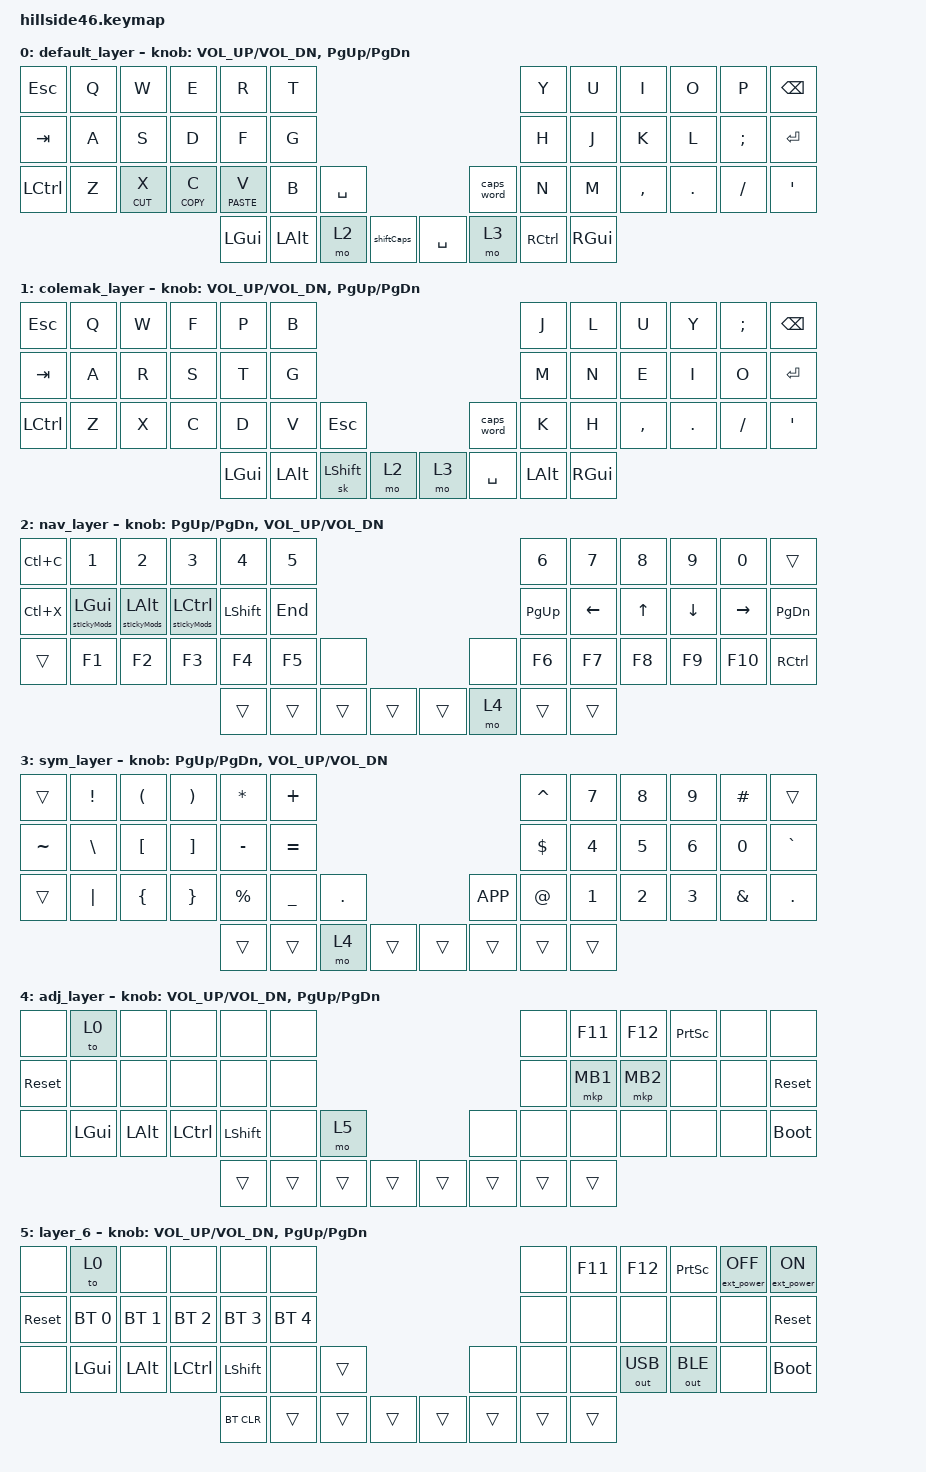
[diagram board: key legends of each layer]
/*
 * Copyright (c) 2021-2022 The ZMK Contributors
 *
 * SPDX-License-Identifier: MIT
 */

#include <dt-bindings/zmk/mouse.h>
#include <behaviors.dtsi>
#include <dt-bindings/zmk/bt.h>
#include <dt-bindings/zmk/ext_power.h>
#include <dt-bindings/zmk/keys.h>
#include <dt-bindings/zmk/outputs.h>
#include <dt-bindings/zmk/pointing.h>

#define QWERTY_L 0
#define DVORAK_L 1
#define COLEMK_L 2
#define NAV_L    3
#define SYM_L    4
#define ADJ_L    5
#define Undo   LC(Z)
#define Cut    LC(X)
#define Copy   LC(C)
#define Paste  LC(V)
#define Redo   LC(Y)

&sk { quick-release; };

&mt {
    tapping-term-ms = <400>;
    flavor = "tap-preferred";
};

/ {
    behaviors {
        shiftCaps: shiftCaps {
            compatible = "zmk,behavior-tap-dance";
            label = "SHIFTCAPS";
            #binding-cells = <0>;
            bindings = <&stickyMods LEFT_SHIFT>, <&kp CAPSLOCK>;
        };

        stickyMods: stickyMods {
            compatible = "zmk,behavior-sticky-key";
            label = "STICKYMODS";
            bindings = <&kp>;
            #binding-cells = <1>;
            lazy;
            ignore-modifiers;
            release-after-ms = <1500>;
            quick-release;
        };
    };

    keymap {
        compatible = "zmk,keymap";

        default_layer {
            /* QWERTY
 * -------------------------------------------------------------------------------------------------------------------------------------
 * | `     |   Q   |   W   |   E   |   R   |   T   |-----------------------------------|   Y   |   U   |   I   |   O   |   P   | BKSPC |
 * | TAB   |   A   |   S   |   D   |   F   |   G   |-----------------------------------|   H   |   J   |   K   |   L   |   ;   | ENTER |
 * | CTRL  |   Z   |   X   |   C   |   V   |   B   |  ESC  |-------------------|  CAPS |   N   |   M   |   ,   |   .   |   /   |   '   |
 *                                 |  GUI  |  ALT  |SK SHFT|  Nav  |---|  Sym  | SPACE |  ALT  |  GUI  |
 */

            bindings = <
&kp ESC    &kp Q  &kp W        &kp E         &kp R          &kp T                                                         &kp Y      &kp U     &kp I      &kp O    &kp P      &kp BSPC
&kp TAB    &kp A  &kp S        &kp D         &kp F          &kp G                                                         &kp H      &kp J     &kp K      &kp L    &kp SEMI   &kp ENTER
&kp LCTRL  &kp Z  &mt K_CUT X  &mt K_COPY C  &mt K_PASTE V  &kp B         &kp SPACE                           &caps_word  &kp N      &kp M     &kp COMMA  &kp DOT  &kp SLASH  &kp SQT
                                             &kp LGUI       &kp LEFT_ALT  &mo 2      &shiftCaps    &kp SPACE  &mo 3       &kp RCTRL  &kp RGUI
            >;

            sensor-bindings = <&inc_dec_kp C_VOL_UP C_VOL_DN &inc_dec_kp PG_UP PG_DN>;
        };

        colemak_layer {
            /* COLEMAK-DH
 * -------------------------------------------------------------------------------------------------------------------------------------
 * | `     |   Q   |   W   |   F   |   P   |   B   |-----------------------------------|   J   |   L   |   U   |   Y   |   ;   | BKSPC |
 * | TAB   |   A   |   R   |   S   |   T   |   G   |-----------------------------------|   M   |   N   |   E   |   I   |   O   | ENTER |
 * | CTRL  |   Z   |   X   |   C   |   D   |   V   |  ESC  |-------------------| CAPS  |   K   |   H   |   ,   |   .   |   /   |   '   |
 *                                 |  GUI  |  ALT  |SK SHFT|  Nav  |---|  Sym  | SPACE |  ALT  |  GUI  |
 */

            bindings = <
&kp ESCAPE  &kp Q  &kp W  &kp F  &kp P     &kp B                                             &kp J     &kp L     &kp U      &kp Y    &kp SEMI   &kp BSPC
&kp TAB     &kp A  &kp R  &kp S  &kp T     &kp G                                             &kp M     &kp N     &kp E      &kp I    &kp O      &kp ENTER
&kp LCTRL   &kp Z  &kp X  &kp C  &kp D     &kp V     &kp ESC                     &caps_word  &kp K     &kp H     &kp COMMA  &kp DOT  &kp SLASH  &kp SQT
                                 &kp LGUI  &kp LALT  &sk LSHIFT  &mo 2    &mo 3  &kp SPACE   &kp LALT  &kp RGUI
            >;

            sensor-bindings = <&inc_dec_kp C_VOL_UP C_VOL_DN &inc_dec_kp PG_UP PG_DN>;
        };

        nav_layer {
            /* NAV   
 * -------------------------------------------------------------------------------------------------------------------------------------
 * | Copy  |   1   |   2   |   3   |   4   |   5   |-----------------------------------|   6   |   7   |   8   |   9   |   0   | BSPC  |
 * | Cut   |  GUI  |  Alt  | Ctrl  | Shift | Paste |-----------------------------------| PG UP |  Left |  Up   |  Down | Right | PG DN |
 * | Ctrl  |  F1   |  F2   |  F3   |  F4   |  F5   |  UnDo |-------------------| ReDo  |  F6   |  F7   |  F8   |  F9   |  F10  | Ctrl  |
 *                                 |       |       |       |       |---| ADJ_L |       |       |       |
 */

            bindings = <
&kp Copy  &kp N1            &kp N2            &kp N3             &kp N4     &kp N5                                    &kp N6     &kp N7    &kp N8  &kp N9    &kp N0     &trans
&kp Cut   &stickyMods LGUI  &stickyMods LALT  &stickyMods LCTRL  &kp LSHFT  &kp END                                   &kp PG_UP  &kp LEFT  &kp UP  &kp DOWN  &kp RIGHT  &kp PG_DN
&trans    &kp F1            &kp F2            &kp F3             &kp F4     &kp F5   &none                     &none  &kp F6     &kp F7    &kp F8  &kp F9    &kp F10    &kp RCTRL
                                                                 &trans     &trans   &trans  &trans    &trans  &mo 4  &trans     &trans
            >;

            sensor-bindings = <&inc_dec_kp PG_UP PG_DN &inc_dec_kp C_VOL_UP C_VOL_DN>;
        };

        sym_layer {
            /* SYM
 * -------------------------------------------------------------------------------------------------------------------------------------
 * | INS   |   !   |   @   |   #   |   $   |   %   |-----------------------------------|   ^   |   &   |   *   |   (   |   )   | BSPC  |
 * | '"    |   \   |   -   |   =   |   [   |   ]   |-----------------------------------| HOME  | Shift | Ctrl  | Alt   | Gui   | END   |
 * | Ctrl  |   |   |   _   |   +   |   {   |   }   |SkAltGr|-------------------| MENU  | Mute  | Vol-  | Vol+  | Play  |       | Ctrl  |
 *                                 |       |       |       |  ADJ_L |---|      |       |       |       |
 */

            bindings = <
&trans     &kp EXCL  &kp LEFT_PARENTHESIS  &kp RIGHT_PARENTHESIS  &kp ASTERISK  &kp PLUS                                            &kp CARET    &kp N7  &kp N8  &kp N9  &kp HASH       &trans
&kp TILDE  &kp BSLH  &kp LBKT              &kp RBKT               &kp MINUS     &kp EQUAL                                           &kp DOLLAR   &kp N4  &kp N5  &kp N6  &kp N0         &kp GRAVE
&trans     &kp PIPE  &kp LEFT_BRACE        &kp RIGHT_BRACE        &kp PERCENT   &kp UNDER  &kp PERIOD                    &kp K_APP  &kp AT_SIGN  &kp N1  &kp N2  &kp N3  &kp AMPERSAND  &kp PERIOD
                                                                  &trans        &trans     &mo 4       &trans    &trans  &trans     &trans       &trans
            >;

            sensor-bindings = <&inc_dec_kp PG_UP PG_DN &inc_dec_kp C_VOL_UP C_VOL_DN>;
        };

        adj_layer {
            /* ADJUST
 * -------------------------------------------------------------------------------------------------------------------------------------
 * |       | QWERTY| DVORAK| COLEMK|       |       |-----------------------------------|       |  F11  |  F12  |Prt Scr|EP_OFF | EP_ON |
 * | RESET | BT 0  | BT 1  | BT 2  | BT 3  | BT 4  |-----------------------------------|       |       |       |       |       | RESET |
 * |       | LGUI  | LALT  | LCTRL | LSHIFT|       |BT CLR |-------------------|       |       |       |OUT_USB|OUT_BLE|       | BOOTL |
 *                                 |       |       |       |       |---|       |       |       |       |
 */

            bindings = <
&none       &to 0     &none     &none      &none       &none                                     &none   &kp F11   &kp F12   &kp PRINTSCREEN  &none  &none
&sys_reset  &none     &none     &none      &none       &none                                     &none   &mkp MB1  &mkp MB2  &none            &none  &sys_reset
&none       &kp LGUI  &kp LALT  &kp LCTRL  &kp LSHIFT  &none   &mo 5                     &none   &none   &none     &none     &none            &none  &bootloader
                                           &trans      &trans  &trans  &trans    &trans  &trans  &trans  &trans
            >;

            sensor-bindings = <&inc_dec_kp C_VOL_UP C_VOL_DN &inc_dec_kp PG_UP PG_DN>;
        };

        layer_6 {
            bindings = <
&none       &to 0         &none         &none         &none         &none                                           &none   &kp F11  &kp F12       &kp PRINTSCREEN  &ext_power EP_OFF  &ext_power EP_ON
&sys_reset  &bt BT_SEL 0  &bt BT_SEL 1  &bt BT_SEL 2  &bt BT_SEL 3  &bt BT_SEL 4                                    &none   &none    &none         &none            &none              &sys_reset
&none       &kp LGUI      &kp LALT      &kp LCTRL     &kp LSHIFT    &none         &trans                    &none   &none   &none    &out OUT_USB  &out OUT_BLE     &none              &bootloader
                                                      &bt BT_CLR    &trans        &trans  &trans    &trans  &trans  &trans  &trans
            >;

            sensor-bindings =
                <&inc_dec_kp C_VOL_UP C_VOL_DN>,
                <&inc_dec_kp PG_UP PG_DN>;
        };
    };
};
